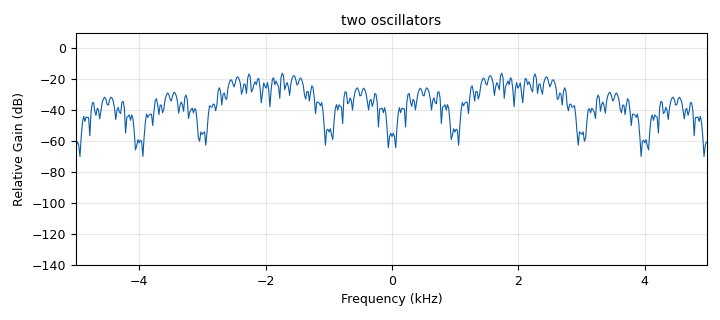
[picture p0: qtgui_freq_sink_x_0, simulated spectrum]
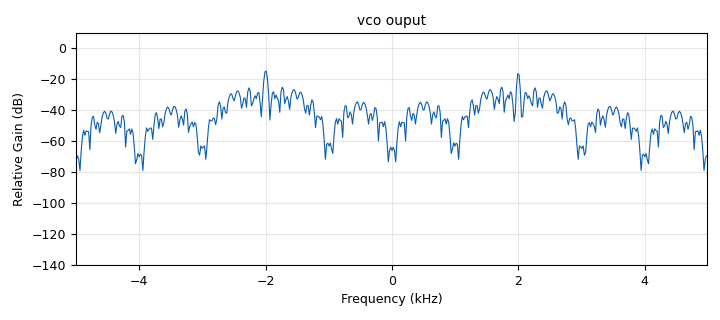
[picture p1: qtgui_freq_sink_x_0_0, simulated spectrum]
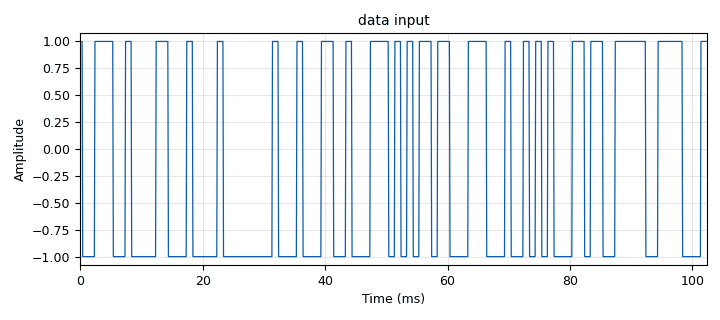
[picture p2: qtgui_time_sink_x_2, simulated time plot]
<?xml version='1.0' encoding='utf-8'?>
<?grc format='1' created='3.7.13'?>
<flow_graph>
<block>
<key>options</key>
<param><key>id</key><value>top_block</value></param>
<param><key>generate_options</key><value>qt_gui</value></param>
</block>
<block>
<key>variable</key>
<param><key>id</key><value>centre_freq</value></param>
<param><key>value</key><value>0</value></param>
</block>
<block>
<key>variable</key>
<param><key>id</key><value>data_rate</value></param>
<param><key>value</key><value>1000</value></param>
</block>
<block>
<key>variable</key>
<param><key>id</key><value>fm_deviation</value></param>
<param><key>value</key><value>4000</value></param>
</block>
<block>
<key>variable</key>
<param><key>id</key><value>samp_rate</value></param>
<param><key>value</key><value>10000</value></param>
</block>
<block>
<key>analog_sig_source_x</key>
<param><key>id</key><value>analog_sig_source_x_0</value></param>
<param><key>amp</key><value>1</value></param>
<param><key>freq</key><value>centre_freq-(fm_deviation/2)</value></param>
<param><key>offset</key><value>0</value></param>
<param><key>type</key><value>complex</value></param>
<param><key>samp_rate</key><value>samp_rate</value></param>
<param><key>waveform</key><value>analog.GR_COS_WAVE</value></param>
</block>
<block>
<key>analog_sig_source_x</key>
<param><key>id</key><value>analog_sig_source_x_0_0</value></param>
<param><key>amp</key><value>1</value></param>
<param><key>freq</key><value>centre_freq+(fm_deviation/2)</value></param>
<param><key>offset</key><value>0</value></param>
<param><key>type</key><value>complex</value></param>
<param><key>samp_rate</key><value>samp_rate</value></param>
<param><key>waveform</key><value>analog.GR_COS_WAVE</value></param>
</block>
<block>
<key>blocks_add_xx</key>
<param><key>id</key><value>blocks_add_xx_0</value></param>
<param><key>type</key><value>complex</value></param>
</block>
<block>
<key>blocks_float_to_complex</key>
<param><key>id</key><value>blocks_float_to_complex_0</value></param>
</block>
<block>
<key>blocks_float_to_complex</key>
<param><key>id</key><value>blocks_float_to_complex_0_0</value></param>
</block>
<block>
<key>blocks_multiply_const_vxx</key>
<param><key>id</key><value>blocks_multiply_const_vxx_0</value></param>
<param><key>const</key><value>-1</value></param>
<param><key>type</key><value>float</value></param>
</block>
<block>
<key>blocks_multiply_xx</key>
<param><key>id</key><value>blocks_multiply_xx_0</value></param>
<param><key>type</key><value>complex</value></param>
</block>
<block>
<key>blocks_multiply_xx</key>
<param><key>id</key><value>blocks_multiply_xx_0_0</value></param>
<param><key>type</key><value>complex</value></param>
</block>
<block>
<key>blocks_repeat</key>
<param><key>id</key><value>blocks_repeat_0</value></param>
<param><key>interp</key><value>samp_rate/data_rate</value></param>
<param><key>type</key><value>float</value></param>
</block>
<block>
<key>blocks_throttle</key>
<param><key>id</key><value>blocks_throttle_0</value></param>
<param><key>samples_per_second</key><value>samp_rate</value></param>
<param><key>type</key><value>complex</value></param>
</block>
<block>
<key>blocks_vco_c</key>
<param><key>id</key><value>blocks_vco_c_0</value></param>
<param><key>amplitude</key><value>1</value></param>
<param><key>samp_rate</key><value>samp_rate</value></param>
<param><key>sensitivity</key><value>fm_deviation*2*3.14156/2</value></param>
</block>
<block>
<key>digital_glfsr_source_x</key>
<param><key>id</key><value>digital_glfsr_source_x_0</value></param>
<param><key>degree</key><value>9</value></param>
<param><key>mask</key><value>0</value></param>
<param><key>repeat</key><value>True</value></param>
<param><key>seed</key><value>1</value></param>
<param><key>type</key><value>float</value></param>
</block>
<block>
<key>qtgui_freq_sink_x</key>
<param><key>id</key><value>qtgui_freq_sink_x_0</value></param>
<param><key>bw</key><value>samp_rate</value></param>
<param><key>fc</key><value>0</value></param>
<param><key>ctrlpanel</key><value>True</value></param>
<param><key>fftsize</key><value>512</value></param>
<param><key>grid</key><value>True</value></param>
<param><key>name</key><value>"two oscillators"</value></param>
<param><key>showports</key><value>True</value></param>
<param><key>type</key><value>complex</value></param>
<param><key>wintype</key><value>firdes.WIN_BLACKMAN_hARRIS</value></param>
</block>
<block>
<key>qtgui_freq_sink_x</key>
<param><key>id</key><value>qtgui_freq_sink_x_0_0</value></param>
<param><key>bw</key><value>samp_rate</value></param>
<param><key>fc</key><value>0</value></param>
<param><key>ctrlpanel</key><value>True</value></param>
<param><key>fftsize</key><value>512</value></param>
<param><key>grid</key><value>True</value></param>
<param><key>name</key><value>"vco ouput"</value></param>
<param><key>showports</key><value>True</value></param>
<param><key>type</key><value>complex</value></param>
<param><key>wintype</key><value>firdes.WIN_BLACKMAN_hARRIS</value></param>
</block>
<block>
<key>qtgui_time_sink_x</key>
<param><key>id</key><value>qtgui_time_sink_x_0</value></param>
<param><key>_enabled</key><value>0</value></param>
<param><key>color1</key><value>"blue"</value></param>
<param><key>label1</key><value></value></param>
<param><key>color2</key><value>"red"</value></param>
<param><key>label2</key><value></value></param>
<param><key>name</key><value>"tone low"</value></param>
<param><key>size</key><value>1024</value></param>
<param><key>srate</key><value>samp_rate</value></param>
<param><key>type</key><value>complex</value></param>
</block>
<block>
<key>qtgui_time_sink_x</key>
<param><key>id</key><value>qtgui_time_sink_x_1</value></param>
<param><key>_enabled</key><value>0</value></param>
<param><key>color1</key><value>"blue"</value></param>
<param><key>label1</key><value></value></param>
<param><key>color2</key><value>"red"</value></param>
<param><key>label2</key><value></value></param>
<param><key>name</key><value>"tones"</value></param>
<param><key>size</key><value>1024</value></param>
<param><key>srate</key><value>samp_rate</value></param>
<param><key>type</key><value>complex</value></param>
</block>
<block>
<key>qtgui_time_sink_x</key>
<param><key>id</key><value>qtgui_time_sink_x_1_0</value></param>
<param><key>_enabled</key><value>0</value></param>
<param><key>color1</key><value>"blue"</value></param>
<param><key>label1</key><value></value></param>
<param><key>color2</key><value>"red"</value></param>
<param><key>label2</key><value></value></param>
<param><key>name</key><value>"tone high"</value></param>
<param><key>size</key><value>1024</value></param>
<param><key>srate</key><value>samp_rate</value></param>
<param><key>type</key><value>complex</value></param>
</block>
<block>
<key>qtgui_time_sink_x</key>
<param><key>id</key><value>qtgui_time_sink_x_1_1</value></param>
<param><key>_enabled</key><value>0</value></param>
<param><key>color1</key><value>"blue"</value></param>
<param><key>label1</key><value></value></param>
<param><key>color2</key><value>"red"</value></param>
<param><key>label2</key><value></value></param>
<param><key>name</key><value>"tone select"</value></param>
<param><key>size</key><value>1024</value></param>
<param><key>srate</key><value>samp_rate</value></param>
<param><key>type</key><value>complex</value></param>
</block>
<block>
<key>qtgui_time_sink_x</key>
<param><key>id</key><value>qtgui_time_sink_x_1_1_0</value></param>
<param><key>ctrlpanel</key><value>True</value></param>
<param><key>_enabled</key><value>0</value></param>
<param><key>color1</key><value>"blue"</value></param>
<param><key>label1</key><value></value></param>
<param><key>color2</key><value>"red"</value></param>
<param><key>label2</key><value></value></param>
<param><key>name</key><value>"vco ouput"</value></param>
<param><key>size</key><value>1024</value></param>
<param><key>srate</key><value>samp_rate</value></param>
<param><key>type</key><value>complex</value></param>
</block>
<block>
<key>qtgui_time_sink_x</key>
<param><key>id</key><value>qtgui_time_sink_x_2</value></param>
<param><key>color1</key><value>"blue"</value></param>
<param><key>label1</key><value></value></param>
<param><key>name</key><value>"data input"</value></param>
<param><key>size</key><value>1024</value></param>
<param><key>srate</key><value>samp_rate</value></param>
<param><key>type</key><value>float</value></param>
</block>
<connection><source_block_id>analog_sig_source_x_0</source_block_id><sink_block_id>blocks_throttle_0</sink_block_id><source_key>0</source_key><sink_key>0</sink_key></connection>
<connection><source_block_id>analog_sig_source_x_0_0</source_block_id><sink_block_id>blocks_multiply_xx_0_0</sink_block_id><source_key>0</source_key><sink_key>0</sink_key></connection>
<connection><source_block_id>blocks_add_xx_0</source_block_id><sink_block_id>qtgui_freq_sink_x_0</sink_block_id><source_key>0</source_key><sink_key>0</sink_key></connection>
<connection><source_block_id>blocks_add_xx_0</source_block_id><sink_block_id>qtgui_time_sink_x_1</sink_block_id><source_key>0</source_key><sink_key>0</sink_key></connection>
<connection><source_block_id>blocks_float_to_complex_0</source_block_id><sink_block_id>blocks_multiply_xx_0</sink_block_id><source_key>0</source_key><sink_key>1</sink_key></connection>
<connection><source_block_id>blocks_float_to_complex_0_0</source_block_id><sink_block_id>blocks_multiply_xx_0_0</sink_block_id><source_key>0</source_key><sink_key>1</sink_key></connection>
<connection><source_block_id>blocks_float_to_complex_0_0</source_block_id><sink_block_id>qtgui_time_sink_x_1_1</sink_block_id><source_key>0</source_key><sink_key>0</sink_key></connection>
<connection><source_block_id>blocks_multiply_const_vxx_0</source_block_id><sink_block_id>blocks_float_to_complex_0_0</sink_block_id><source_key>0</source_key><sink_key>1</sink_key></connection>
<connection><source_block_id>blocks_multiply_const_vxx_0</source_block_id><sink_block_id>blocks_float_to_complex_0_0</sink_block_id><source_key>0</source_key><sink_key>0</sink_key></connection>
<connection><source_block_id>blocks_multiply_xx_0</source_block_id><sink_block_id>blocks_add_xx_0</sink_block_id><source_key>0</source_key><sink_key>0</sink_key></connection>
<connection><source_block_id>blocks_multiply_xx_0</source_block_id><sink_block_id>qtgui_time_sink_x_0</sink_block_id><source_key>0</source_key><sink_key>0</sink_key></connection>
<connection><source_block_id>blocks_multiply_xx_0_0</source_block_id><sink_block_id>blocks_add_xx_0</sink_block_id><source_key>0</source_key><sink_key>1</sink_key></connection>
<connection><source_block_id>blocks_multiply_xx_0_0</source_block_id><sink_block_id>qtgui_time_sink_x_1_0</sink_block_id><source_key>0</source_key><sink_key>0</sink_key></connection>
<connection><source_block_id>blocks_repeat_0</source_block_id><sink_block_id>blocks_float_to_complex_0</sink_block_id><source_key>0</source_key><sink_key>1</sink_key></connection>
<connection><source_block_id>blocks_repeat_0</source_block_id><sink_block_id>blocks_float_to_complex_0</sink_block_id><source_key>0</source_key><sink_key>0</sink_key></connection>
<connection><source_block_id>blocks_repeat_0</source_block_id><sink_block_id>blocks_multiply_const_vxx_0</sink_block_id><source_key>0</source_key><sink_key>0</sink_key></connection>
<connection><source_block_id>blocks_repeat_0</source_block_id><sink_block_id>blocks_vco_c_0</sink_block_id><source_key>0</source_key><sink_key>0</sink_key></connection>
<connection><source_block_id>blocks_repeat_0</source_block_id><sink_block_id>qtgui_time_sink_x_2</sink_block_id><source_key>0</source_key><sink_key>0</sink_key></connection>
<connection><source_block_id>blocks_throttle_0</source_block_id><sink_block_id>blocks_multiply_xx_0</sink_block_id><source_key>0</source_key><sink_key>0</sink_key></connection>
<connection><source_block_id>blocks_vco_c_0</source_block_id><sink_block_id>qtgui_freq_sink_x_0_0</sink_block_id><source_key>0</source_key><sink_key>0</sink_key></connection>
<connection><source_block_id>blocks_vco_c_0</source_block_id><sink_block_id>qtgui_time_sink_x_1_1_0</sink_block_id><source_key>0</source_key><sink_key>0</sink_key></connection>
<connection><source_block_id>digital_glfsr_source_x_0</source_block_id><sink_block_id>blocks_repeat_0</sink_block_id><source_key>0</source_key><sink_key>0</sink_key></connection>
</flow_graph>
